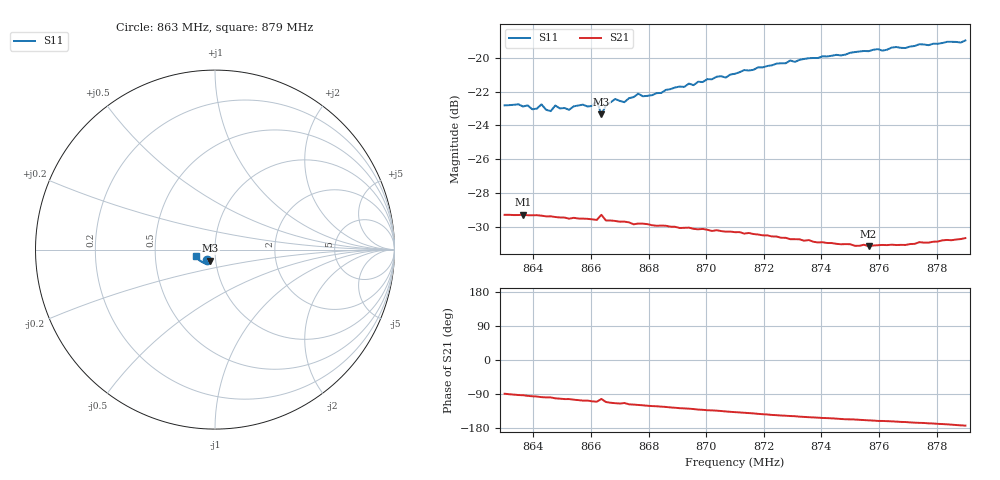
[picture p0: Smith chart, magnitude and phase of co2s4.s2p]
# HZ S RI R 50
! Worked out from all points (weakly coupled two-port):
!   101 points, 863 MHz to 879 MHz, reference 50 ohm
!   highest |S21| = -29.28 dB at 863.64 MHz (marker M1); lowest = -31.1 dB at 875.64 MHz (marker M2)
!   lowest |S11| = -23.4 dB at 866.36 MHz (marker M3), VSWR 1.15, Z = 47.1 - j5.92 ohm
!   |S11| at or under -10 dB: start of sweep to end of sweep
!   S12 and S22 are empty: the file has one direction only
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8.63e8  -0.042 -0.0589  0.000573 -0.0343  0 0  0 0
8.6364e8  -0.0415 -0.0585  -0.00179 -0.0343  0 0  0 0
8.6396e8  -0.0398 -0.0581  -0.00339 -0.0341  0 0  0 0
8.6428e8  -0.0407 -0.0604  -0.00475 -0.0338  0 0  0 0
8.646e8  -0.0377 -0.0585  -0.00517 -0.0336  0 0  0 0
8.6476e8  -0.0395 -0.0605  -0.00653 -0.0332  0 0  0 0
8.6524e8  -0.0366 -0.0599  -0.00758 -0.0326  0 0  0 0
8.6572e8  -0.0381 -0.0619  -0.00988 -0.032  0 0  0 0
8.6604e8  -0.0378 -0.0613  -0.0109 -0.0315  0 0  0 0
8.662e8  -0.0405 -0.0629  -0.0114 -0.0312  0 0  0 0
8.6636e8  -0.0265 -0.0626  -0.0076 -0.0335  0 0  0 0
8.6652e8  -0.0361 -0.0627  -0.0118 -0.0309  0 0  0 0
8.6684e8  -0.0399 -0.0642  -0.0134 -0.0301  0 0  0 0
8.6716e8  -0.0365 -0.0643  -0.0131 -0.0301  0 0  0 0
8.6764e8  -0.0404 -0.0671  -0.0155 -0.0284  0 0  0 0
8.678e8  -0.0406 -0.0654  -0.0159 -0.0281  0 0  0 0
8.6844e8  -0.0408 -0.0673  -0.0174 -0.0268  0 0  0 0
8.71e8  -0.0536 -0.0719  -0.0225 -0.0206  0 0  0 0
8.7372e8  -0.0719 -0.0693  -0.0251 -0.0136  0 0  0 0
8.7564e8  -0.0858 -0.0598  -0.026 -0.00981  0 0  0 0
8.7644e8  -0.0915 -0.0558  -0.0266 -0.00873  0 0  0 0
8.79e8  -0.1064 -0.0364  -0.0291 -0.00349  0 0  0 0
